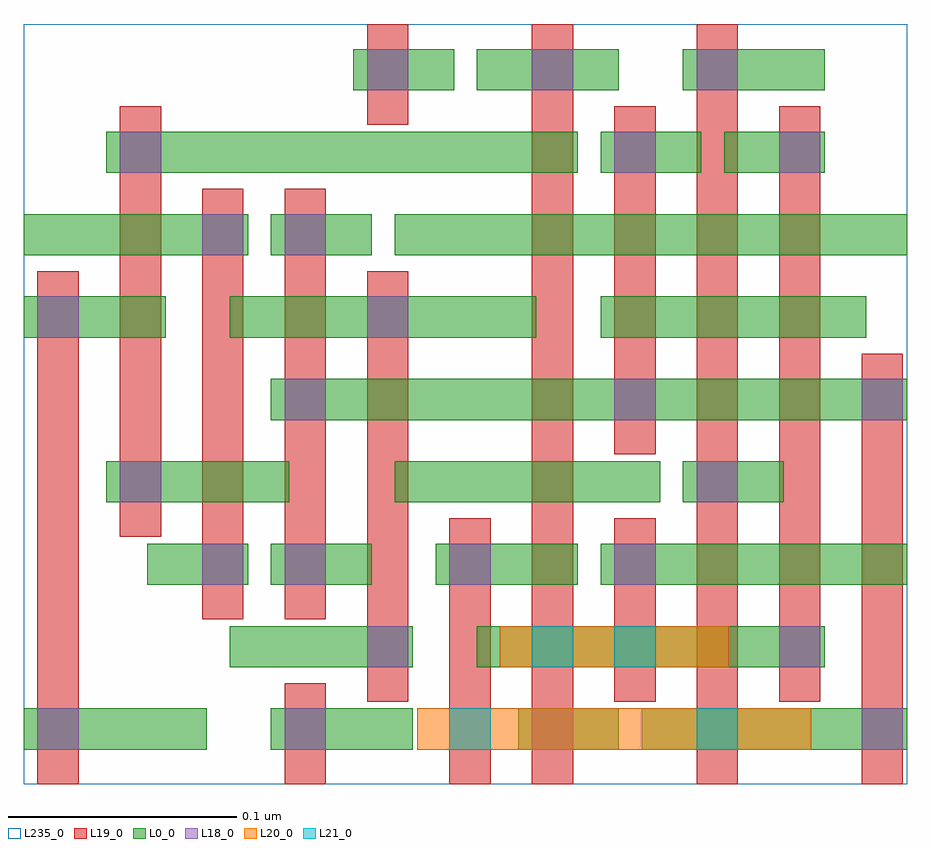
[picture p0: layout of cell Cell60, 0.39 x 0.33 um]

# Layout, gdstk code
import gdstk
lib = gdstk.Library(unit=1e-6, precision=2.5e-10)
def R(c, l, rs):  # rectangles x0, y0, x1, y1
    for r in rs: c.add(gdstk.rectangle(r[:2], r[2:], *l))
def A(c, l, x, y, w, h, nx, ny, dx, dy):  # array of equal rectangles
    R(c, l, [(x+i*dx, y+j*dy, x+i*dx+w, y+j*dy+h) for i in range(nx) for j in range(ny)])
L0_0 = (0, 0)
L18_0 = (18, 0)
L19_0 = (19, 0)
L20_0 = (20, 0)
L21_0 = (21, 0)
L235_0 = (235, 0)

cell60 = lib.new_cell('Cell60')
R(cell60, L0_0, [(0.004,-0.001,0.084,0.017), (0.112,-0.001,0.174,0.017), (0.22,-0.001,0.264,0.017), (0.274,-0.001,0.39,0.017), (0.094,0.035,0.174,0.053), (0.202,0.035,0.354,0.053), (0.058,0.071,0.102,0.089), (0.112,0.071,0.156,0.089), (0.184,0.071,0.246,0.089), (0.256,0.071,0.39,0.089), (0.04,0.107,0.12,0.125), (0.166,0.107,0.282,0.125), (0.292,0.107,0.336,0.125), (0.112,0.143,0.39,0.161), (0.004,0.179,0.066,0.197), (0.094,0.179,0.228,0.197), (0.256,0.179,0.372,0.197), (0.004,0.215,0.102,0.233), (0.112,0.215,0.156,0.233), (0.166,0.215,0.39,0.233), (0.04,0.251,0.246,0.269), (0.256,0.251,0.3,0.269), (0.31,0.251,0.354,0.269), (0.148,0.287,0.192,0.305), (0.202,0.287,0.264,0.305), (0.292,0.287,0.354,0.305)])
A(cell60, L18_0, 0.01, -0.001, 0.018, 0.018, 3, 1, 0.108, 0)
A(cell60, L18_0, 0.118, 0.071, 0.018, 0.018, 3, 1, 0.072, 0)
A(cell60, L18_0, 0.154, 0.287, 0.018, 0.018, 3, 1, 0.072, 0)
R(cell60, L18_0, [(0.37,-0.001,0.388,0.017), (0.154,0.035,0.172,0.053), (0.334,0.035,0.352,0.053), (0.082,0.071,0.1,0.089), (0.046,0.107,0.064,0.125), (0.298,0.107,0.316,0.125), (0.118,0.143,0.136,0.161), (0.262,0.143,0.28,0.161), (0.37,0.143,0.388,0.161), (0.01,0.179,0.028,0.197), (0.154,0.179,0.172,0.197), (0.082,0.215,0.1,0.233), (0.118,0.215,0.136,0.233), (0.046,0.251,0.064,0.269), (0.262,0.251,0.28,0.269), (0.334,0.251,0.352,0.269)])
R(cell60, L19_0, [(0.01,-0.016,0.028,0.208), (0.118,-0.016,0.136,0.028), (0.19,-0.016,0.208,0.1), (0.226,-0.016,0.244,0.316), (0.298,-0.016,0.316,0.316), (0.37,-0.016,0.388,0.172), (0.154,0.02,0.172,0.208), (0.262,0.02,0.28,0.1), (0.334,0.02,0.352,0.28), (0.082,0.056,0.1,0.244), (0.118,0.056,0.136,0.244), (0.046,0.092,0.064,0.28), (0.262,0.128,0.28,0.28), (0.154,0.272,0.172,0.316)])
R(cell60, L20_0, [(0.176,-0.001,0.348,0.017), (0.212,0.035,0.312,0.053)])
R(cell60, L21_0, [(0.19,-0.001,0.208,0.017), (0.298,-0.001,0.316,0.017), (0.226,0.035,0.244,0.053), (0.262,0.035,0.28,0.053)])
R(cell60, L235_0, [(0.004,-0.016,0.39,0.316)])

lib.write_gds('Cell60.gds')
